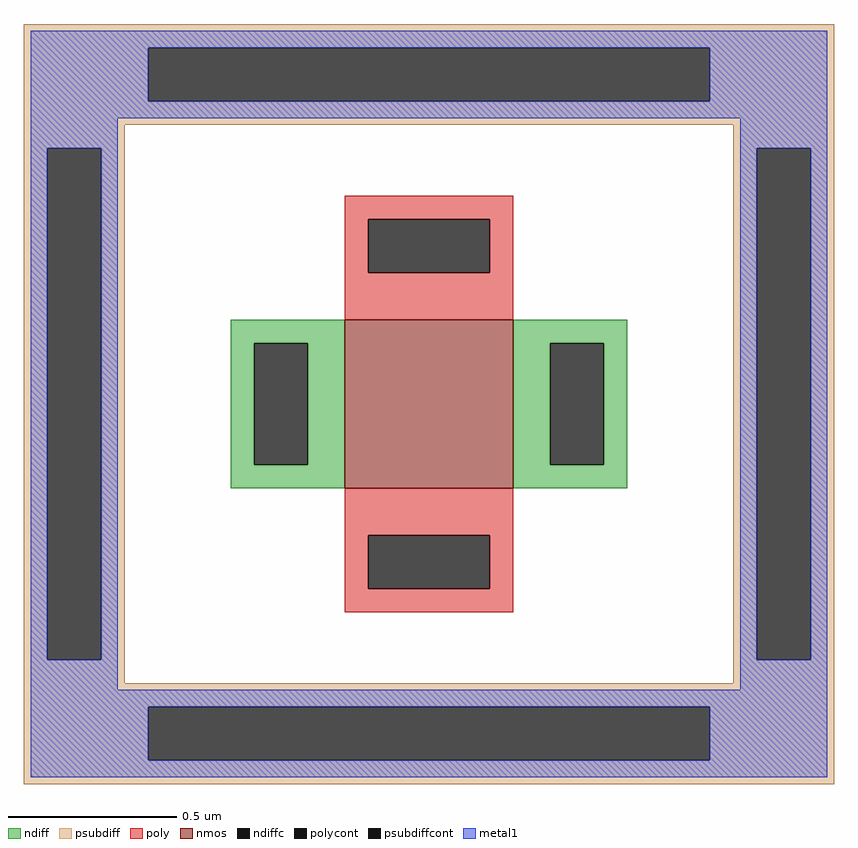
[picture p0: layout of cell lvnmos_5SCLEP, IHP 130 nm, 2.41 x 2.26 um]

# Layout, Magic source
magic
tech ihp-sg13g2
magscale 1 2
<< nmos >>
rect -50 -50 50 50
<< ndiff >>
rect -118 36 -50 50
rect -118 -36 -104 36
rect -72 -36 -50 36
rect -118 -50 -50 -36
rect 50 36 118 50
rect 50 -36 72 36
rect 104 -36 118 36
rect 50 -50 118 -36
<< ndiffc >>
rect -104 -36 -72 36
rect 72 -36 104 36
<< psubdiff >>
rect -241 212 241 226
rect -241 180 -167 212
rect 167 180 241 212
rect -241 166 241 180
rect -241 152 -181 166
rect -241 -152 -227 152
rect -195 -152 -181 152
rect 181 152 241 166
rect -241 -166 -181 -152
rect 181 -152 195 152
rect 227 -152 241 152
rect 181 -166 241 -152
rect -241 -180 241 -166
rect -241 -212 -167 -180
rect 167 -212 241 -180
rect -241 -226 241 -212
<< psubdiffcont >>
rect -167 180 167 212
rect -227 -152 -195 152
rect 195 -152 227 152
rect -167 -212 167 -180
<< poly >>
rect -50 110 50 124
rect -50 78 -36 110
rect 36 78 50 110
rect -50 50 50 78
rect -50 -78 50 -50
rect -50 -110 -36 -78
rect 36 -110 50 -78
rect -50 -124 50 -110
<< polycont >>
rect -36 78 36 110
rect -36 -110 36 -78
<< metal1 >>
rect -237 212 237 222
rect -237 180 -167 212
rect 167 180 237 212
rect -237 170 237 180
rect -237 152 -185 170
rect -237 -152 -227 152
rect -195 -152 -185 152
rect 185 152 237 170
rect -237 -170 -185 -152
rect 185 -152 195 152
rect 227 -152 237 152
rect 185 -170 237 -152
rect -237 -180 237 -170
rect -237 -212 -167 -180
rect 167 -212 237 -180
rect -237 -222 237 -212
<< properties >>
string gencell lvnmos
string library sg13g2_devstdin
string parameters w 0.5 l 0.5 nf 1 nx 1 dx 0.21 ny 1 dy 0.18 wmin 0.50 lmin 0.50 class mosfet gcontcov_t 100 gcontcov_b 100 dcontcov_l 100 dcontcov_r 100 guard_distf 1.5 glc 1 grc 1 gtc 1 gbc 1
<< end >>
